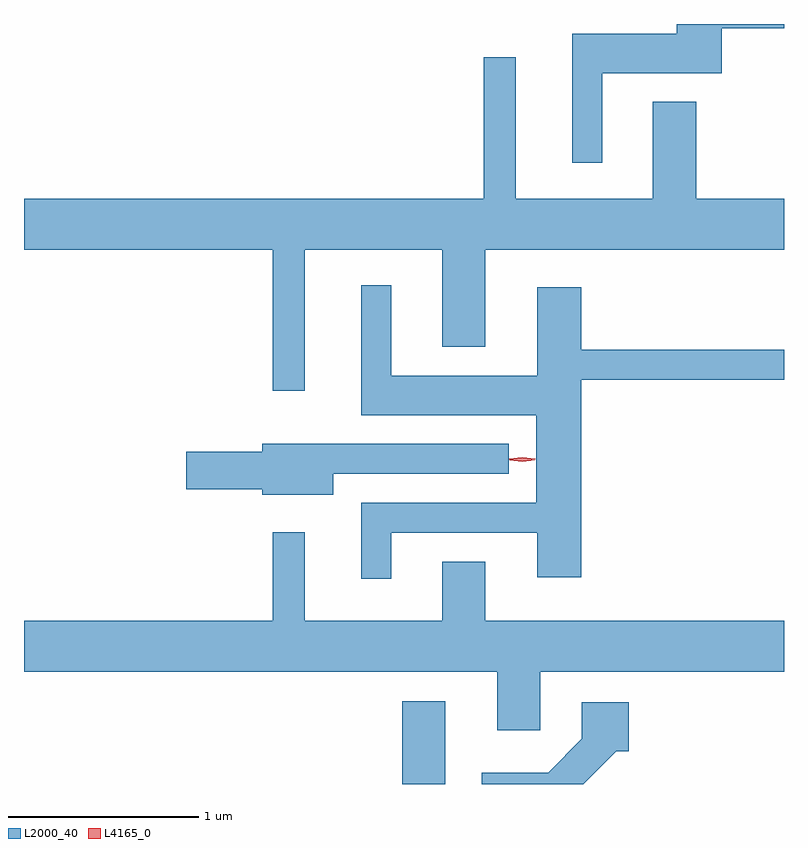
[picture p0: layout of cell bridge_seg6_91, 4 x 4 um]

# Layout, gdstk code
import gdstk
lib = gdstk.Library(unit=1e-6, precision=1e-09)
def R(c, l, rs):  # rectangles x0, y0, x1, y1
    for r in rs: c.add(gdstk.rectangle(r[:2], r[2:], *l))
def P(c, l, *ps):  # polygons
    for p in ps: c.add(gdstk.Polygon(p, *l))
L2000_40 = (2000, 40)
L4165_0 = (4165, 0)

bridge_seg6_91 = lib.new_cell('bridge_seg6_91')
R(bridge_seg6_91, L2000_40, [(1140.661,1640.464,1140.889,1640.899)])
P(bridge_seg6_91, L2000_40, [(1141.714,1644.206),(1142.344,1644.206),(1142.344,1644.441),(1142.671,1644.441),(1142.671,1644.464),(1142.106,1644.464),(1142.106,1644.414),(1141.556,1644.414),(1141.556,1643.733),(1141.714,1643.733)],
  [(1140.149,1643.276),(1140.871,1643.276),(1140.871,1642.766),(1141.099,1642.766),(1141.099,1643.276),(1142.671,1643.276),(1142.671,1643.544),(1142.209,1643.544),(1142.209,1644.054),(1141.981,1644.054),(1141.981,1643.544),(1141.259,1643.544),(1141.259,1644.288),(1141.091,1644.288),(1141.091,1643.544),(1138.671,1643.544),(1138.671,1643.276),(1139.981,1643.276),(1139.981,1642.533),(1140.149,1642.533)],
  [(1140.604,1641.786),(1141.371,1641.786),(1141.371,1641.551),(1141.604,1641.551),(1141.604,1642.591),(1142.671,1642.591),(1142.671,1642.749),(1141.604,1642.749),(1141.604,1643.079),(1141.371,1643.079),(1141.371,1642.614),(1140.604,1642.614),(1140.604,1643.088),(1140.446,1643.088),(1140.446,1642.406),(1141.366,1642.406),(1141.366,1641.944),(1140.446,1641.944),(1140.446,1641.543),(1140.604,1641.543)],
  [(1140.299,1642.096),(1141.223,1642.096),(1141.223,1642.254),(1139.926,1642.254),(1139.926,1642.214),(1139.526,1642.214),(1139.526,1642.016),(1139.926,1642.016),(1139.926,1641.986),(1140.299,1641.986)],
  [(1141.161,1640.746),(1141.389,1640.746),(1141.389,1641.056),(1142.671,1641.056),(1142.671,1641.324),(1141.099,1641.324),(1141.099,1641.634),(1140.871,1641.634),(1140.871,1641.324),(1140.149,1641.324),(1140.149,1641.788),(1139.981,1641.788),(1139.981,1641.324),(1138.671,1641.324),(1138.671,1641.056),(1141.161,1641.056)],
  [(1141.787,1640.636),(1141.854,1640.636),(1141.854,1640.894),(1141.606,1640.894),(1141.606,1640.702),(1141.429,1640.524),(1141.081,1640.524),(1141.081,1640.464),(1141.615,1640.464)])
P(bridge_seg6_91, L4165_0, [(1141.293,1642.164),(1141.224,1642.174),(1141.224,1642.175),(1141.224,1642.175),(1141.293,1642.184),(1141.362,1642.175),(1141.363,1642.174),(1141.362,1642.174)],
  [(1141.293,1642.159),(1141.227,1642.169),(1141.227,1642.17),(1141.227,1642.17),(1141.293,1642.179),(1141.359,1642.168),(1141.36,1642.168),(1141.359,1642.167)])

lib.write_gds('bridge_seg6_91.gds')
